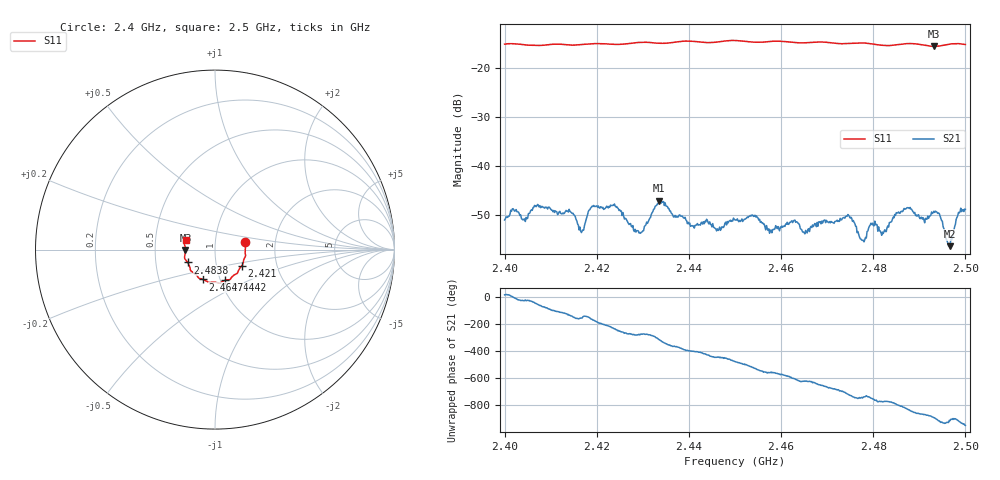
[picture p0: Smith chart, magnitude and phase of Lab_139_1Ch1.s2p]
# Hz S RI R 50
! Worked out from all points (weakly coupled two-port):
!   601 points, 2.4 GHz to 2.5 GHz, reference 50 ohm
!   highest |S21| = -47.11 dB at 2.4335 GHz (marker M1); lowest = -56.4 dB at 2.4967 GHz (marker M2)
!   lowest |S11| = -15.7 dB at 2.4932 GHz (marker M3), VSWR 1.39, Z = 35.8 - j0.124 ohm
!   |S11| at or under -10 dB: start of sweep to end of sweep
!   S12 and S22 are empty: the file has one direction only
!   S11 on the Smith chart (normalised r, x): 2.4 GHz: 1.40, +0.12; 2.421 GHz: 1.33, -0.24; 2.4442 GHz: 1.05, -0.37; 2.4647 GHz: 0.83, -0.28; 2.4838 GHz: 0.73, -0.11; 2.5 GHz: 0.71, +0.08
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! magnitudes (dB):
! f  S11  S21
! 2.4 GHz  -15.2  -51.0
! 2.4077 GHz  -15.5  -48.1
! 2.4145 GHz  -15.4  -49.6
! 2.4167 GHz  -15.3  -53.6
! 2.4187 GHz  -15.1  -48.6
! 2.421 GHz  -15.1  -48.4
! 2.4297 GHz  -14.8  -53.6
! 2.4333 GHz  -15.0  -47.8
! 2.4335 GHz  -15.0  -47.1
! 2.4442 GHz  -14.9  -51.6
! 2.45 GHz  -14.5  -51.0
! 2.4647 GHz  -14.9  -53.5
! 2.4667 GHz  -14.8  -52.6
! 2.4747 GHz  -15.1  -50.1
! 2.4777 GHz  -14.9  -55.2
! 2.4798 GHz  -15.2  -51.7
! 2.4833 GHz  -15.5  -52.5
! 2.4838 GHz  -15.5  -51.5
! 2.4932 GHz  -15.7  -49.3
! 2.4967 GHz  -15.2  -56.4
! 2.4985 GHz  -15.1  -49.5
! 2.5 GHz  -15.3  -48.9
